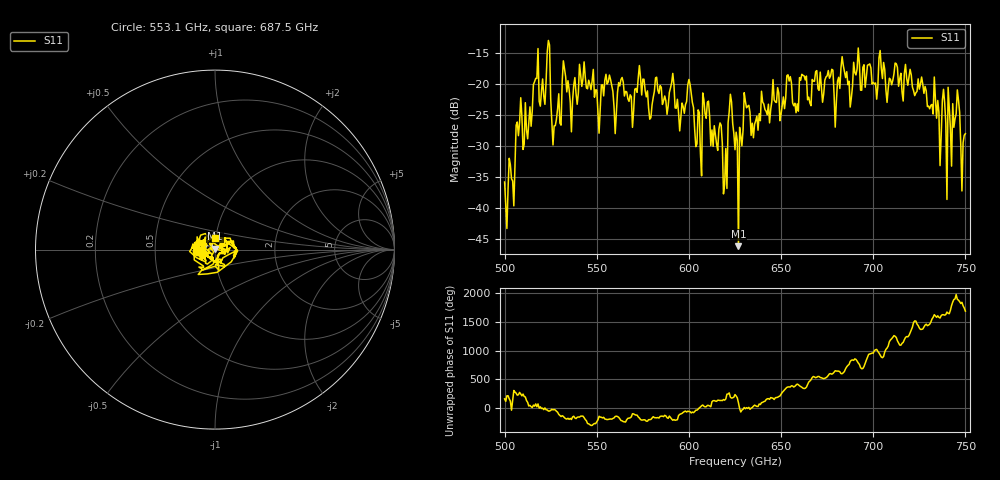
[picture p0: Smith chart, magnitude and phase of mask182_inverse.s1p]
!Created with skrf (http://scikit-rf.org).
# GHz S MA R 50.0
!freq magS11 angS11
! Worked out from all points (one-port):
!   401 points, 500 GHz to 750 GHz, reference 50 ohm
!   lowest |S11| = -46.1 dB at 626.9 GHz (marker M1), VSWR 1.01, Z = 50 + j0.493 ohm
!   |S11| at or under -10 dB: start of sweep to end of sweep
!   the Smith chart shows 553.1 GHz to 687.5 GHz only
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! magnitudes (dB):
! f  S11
! 500 GHz  -35.8
! 504.4 GHz  -35.6
! 507.5 GHz  -28.3
! 513.8 GHz  -23.6
! 516.9 GHz  -19.0
! 520.6 GHz  -19.1
! 523.8 GHz  -12.9
! 526.9 GHz  -26.7
! 531.2 GHz  -19.5
! 562.5 GHz  -20.3
! 579.4 GHz  -25.4
! 590.6 GHz  -19.8
! 593.8 GHz  -22.4
! 600.6 GHz  -20.0
! 605.6 GHz  -24.6
! 608.8 GHz  -24.7
! 619.4 GHz  -36.2
! 622.5 GHz  -21.6
! 625 GHz  -30.6
! 626.9 GHz  -46.1
! 631.2 GHz  -23.8
! 635 GHz  -28.6
! 656.2 GHz  -23.0
! 683.8 GHz  -17.0
! 687.5 GHz  -23.7
! 690.6 GHz  -18.5
! 718.8 GHz  -20.2
! 750 GHz  -28.0
